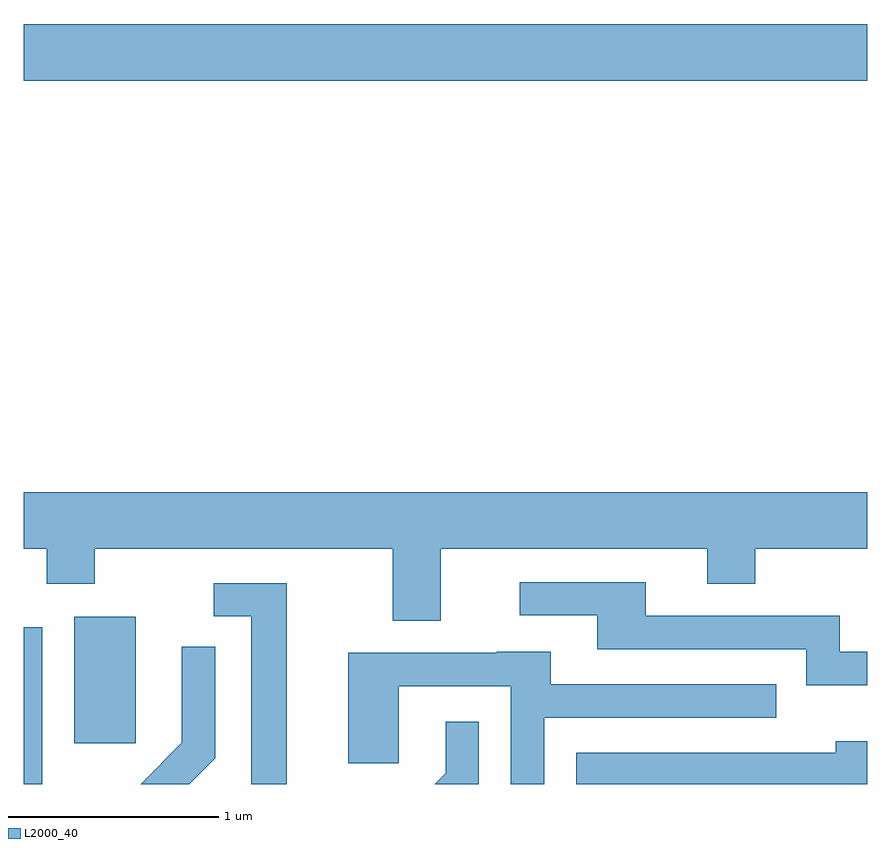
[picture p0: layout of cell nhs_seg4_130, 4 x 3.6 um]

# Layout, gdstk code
import gdstk
lib = gdstk.Library(unit=1e-6, precision=1e-09)
def R(c, l, rs):  # rectangles x0, y0, x1, y1
    for r in rs: c.add(gdstk.rectangle(r[:2], r[2:], *l))
def P(c, l, *ps):  # polygons
    for p in ps: c.add(gdstk.Polygon(p, *l))
L2000_40 = (2000, 40)

nhs_seg4_130 = lib.new_cell('nhs_seg4_130')
R(nhs_seg4_130, L2000_40, [(187.611,1377.982,187.699,1378.724), (187.851,1378.176,188.144,1378.774), (187.611,1381.316,191.611,1381.584)])
P(nhs_seg4_130, L2000_40, [(189.589,1379.096),(190.851,1379.096),(190.851,1378.931),(191.079,1378.931),(191.079,1379.096),(191.611,1379.096),(191.611,1379.364),(187.611,1379.364),(187.611,1379.096),(187.721,1379.096),(187.721,1378.931),(187.949,1378.931),(187.949,1379.096),(189.361,1379.096),(189.361,1378.756),(189.589,1378.756)],
  [(191.611,1378.609),(191.479,1378.609),(191.479,1378.779),(190.559,1378.779),(190.559,1378.939),(189.963,1378.939),(189.963,1378.781),(190.331,1378.781),(190.331,1378.621),(191.321,1378.621),(191.321,1378.451),(191.611,1378.451)],
  [(188.859,1378.934),(188.513,1378.934),(188.513,1378.776),(188.691,1378.776),(188.691,1377.982),(188.859,1377.982)],
  [(188.519,1378.104),(188.519,1378.633),(188.361,1378.633),(188.361,1378.177),(188.166,1377.982),(188.397,1377.982)],
  [(190.079,1378.296),(191.178,1378.296),(191.178,1378.454),(190.109,1378.454),(190.109,1378.609),(189.855,1378.609),(189.855,1378.604),(189.151,1378.604),(189.151,1378.081),(189.389,1378.081),(189.389,1378.446),(189.921,1378.446),(189.921,1377.982),(190.079,1377.982)],
  [(189.769,1378.278),(189.611,1378.278),(189.611,1378.032),(189.561,1377.982),(189.769,1377.982)],
  [(191.611,1378.184),(191.461,1378.184),(191.461,1378.129),(190.231,1378.129),(190.231,1377.982),(191.611,1377.982)])

lib.write_gds('nhs_seg4_130.gds')
